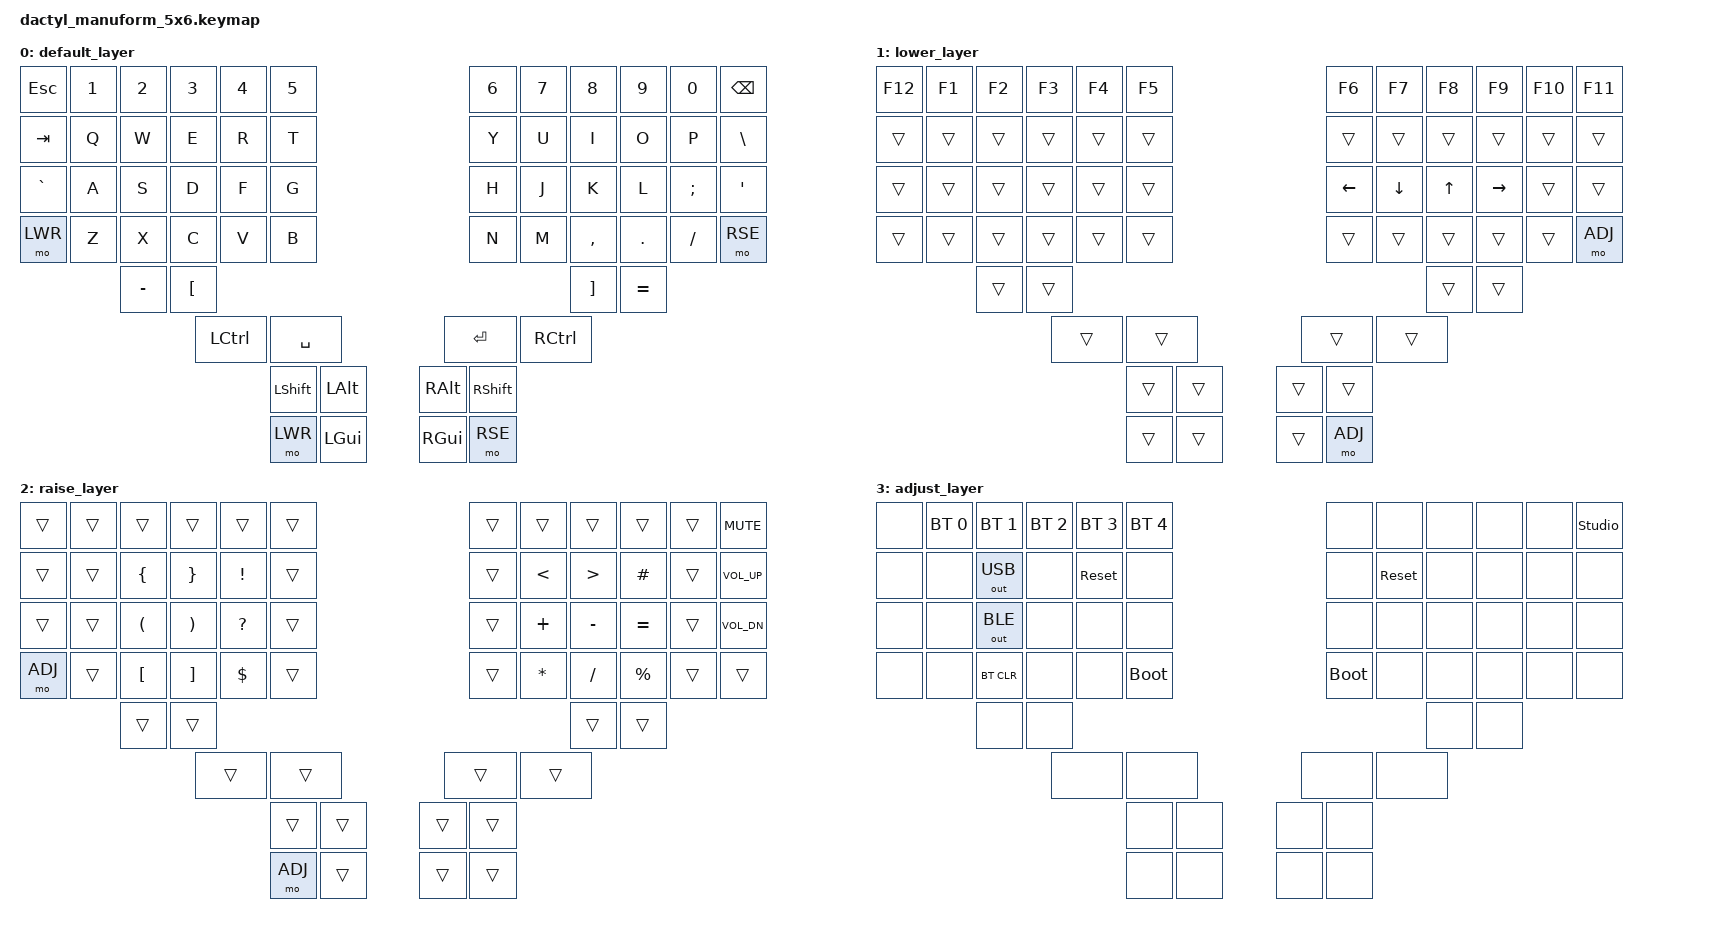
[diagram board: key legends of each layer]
#include <behaviors.dtsi>
#include <dt-bindings/zmk/keys.h>
#include <dt-bindings/zmk/bt.h>
#include <dt-bindings/zmk/outputs.h>
#define DEFAULT 0
#define LWR 1
#define RSE 2
#define ADJ 3

#define HYPER(key) LS(LC(LA(LG(key))))
#define MEH(key)   LS(LC(LA(key)))

&sl {
release-after-ms = <5000>;
};


&kscan0 {
debounce-press-ms = <30>;
debounce-release-ms = <30>;
};

/ {
    keymap {
        compatible = "zmk,keymap";

        default_layer {
            bindings = <
                &kp ESC   &kp N1 &kp N2    &kp N3 &kp N4    &kp N5           &kp N6   &kp N7  &kp N8    &kp N9  &kp N0   &kp BSPC
                &kp TAB   &kp Q  &kp W     &kp E  &kp R     &kp T            &kp Y    &kp U   &kp I     &kp O   &kp P    &kp BSLH
                &kp GRAVE &kp A  &kp S     &kp D  &kp F     &kp G            &kp H    &kp J   &kp K     &kp L   &kp SEMI &kp SQT
                &mo LWR   &kp Z  &kp X     &kp C  &kp V     &kp B            &kp N    &kp M   &kp COMMA &kp DOT &kp FSLH &mo RSE
                                 &kp MINUS &kp LBKT                                           &kp RBKT  &kp EQUAL  
                                                  &kp LCTRL &kp SPACE        &kp RET  &kp RCTRL
                                                  &kp LSHFT &kp LALT         &kp RALT &kp RSHFT
                                                  &mo LWR   &kp LGUI         &kp RGUI &mo RSE
            >;
        };

        lower_layer {
            bindings = <
                &kp F12 &kp F1 &kp F2 &kp F3 &kp F4 &kp F5                                                &kp F6 &kp F7   &kp F8   &kp F9 &kp F10   &kp F11
                &trans &trans &trans &trans &trans &trans                                                 &trans &trans   &trans   &trans &trans    &trans
                &trans  &trans &trans &trans &trans &trans                                                &kp LEFT &kp DOWN &kp UP &kp RIGHT &trans &trans
                &trans  &trans &trans &trans &trans &trans                                                &trans &trans   &trans   &trans &trans    &mo ADJ
                               &trans &trans                                                                                       &trans &trans
                                             &trans &trans                                                &trans &trans
                                             &trans &trans                                                &trans &trans 
                                             &trans &trans                                                &trans &mo ADJ
            >;
        };

        raise_layer {
            bindings = <
                &trans  &trans &trans   &trans   &trans    &trans         &trans &trans   &trans    &trans    &trans &kp K_MUTE
                &trans  &trans &kp LBRC &kp RBRC &kp EXCL  &trans         &trans &kp LT   &kp GT    &kp POUND &trans &kp K_VOL_UP
                &trans  &trans &kp LPAR &kp RPAR &kp QMARK &trans         &trans &kp PLUS &kp MINUS &kp EQUAL &trans &kp K_VOL_DN
                &mo ADJ &trans &kp LBKT &kp RBKT &kp DLLR  &trans         &trans &kp STAR &kp FSLH  &kp PRCNT &trans &trans 
                               &trans   &trans                                            &trans    &trans
                                                 &trans  &trans           &trans &trans
                                                 &trans  &trans           &trans &trans
                                                 &mo ADJ &trans           &trans &trans
            >;
        };

        adjust_layer {
            bindings = <
                &none &bt BT_SEL 0 &bt BT_SEL 1 &bt BT_SEL 2 &bt BT_SEL 3 &bt BT_SEL 4             &none       &none      &none &none &none &studio_unlock
                &none &none        &out OUT_USB &none        &sys_reset   &none                    &none       &sys_reset &none &none &none &none
                &none &none        &out OUT_BLE &none        &none        &none                    &none       &none      &none &none &none &none
                &none &none        &bt BT_CLR   &none        &none        &bootloader              &bootloader       &none      &none &none &none &none
                                   &none        &none                                                                     &none &none
                                                             &none        &none                    &none       &none
                                                             &none        &none                    &none       &none
                                                             &none        &none                    &none       &none
            >;
        };
    };
};
